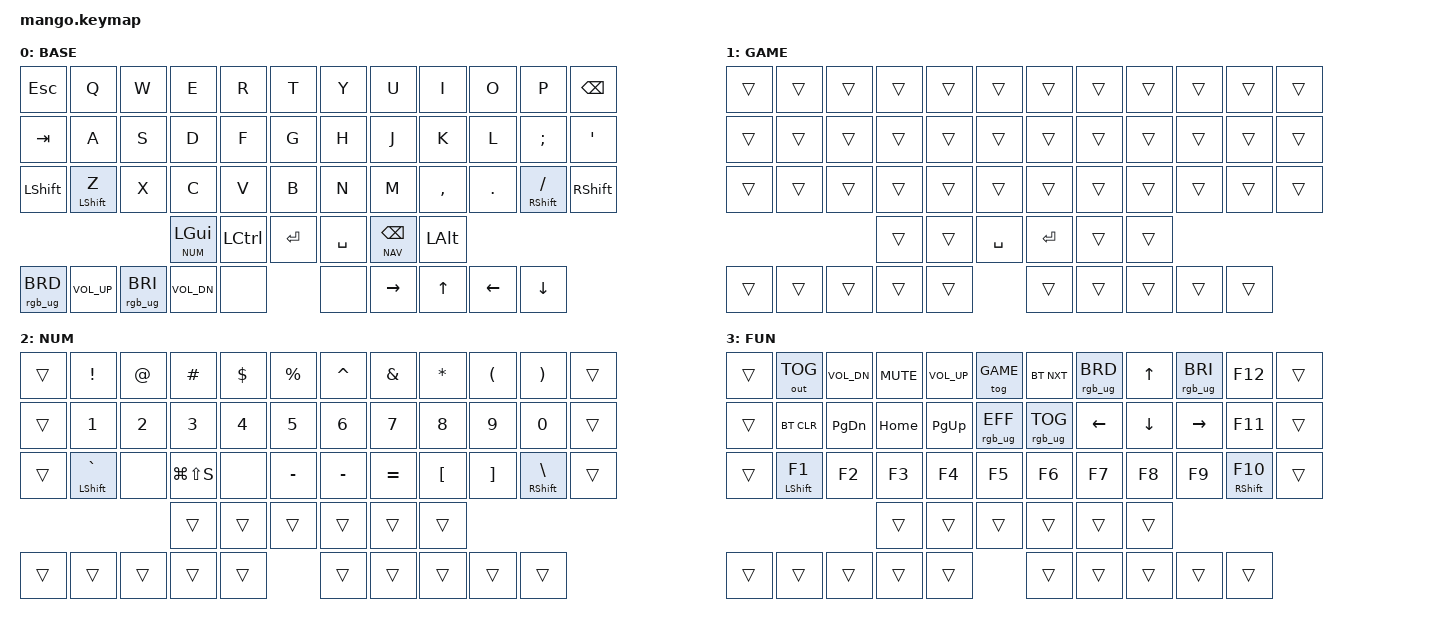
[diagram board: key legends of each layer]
#include <behaviors.dtsi>
#include <dt-bindings/zmk/keys.h>
#include <dt-bindings/zmk/bt.h>
#include <dt-bindings/zmk/outputs.h>
#include <dt-bindings/zmk/rgb.h>
#include <dt-bindings/zmk/ext_power.h>

#define BASE 0
#define GAME 1
#define NUM  2
#define NAV  3

/ {
keymap {
    compatible = "zmk,keymap";

/*                                  
*  DEFAULT               _____                                               _____
*                 .-----|  E  |-----._____                       _____.-----|  I  |-----. 
*      _____.-----|  W  |_____|  R  |  T  |                     |  Y  |  U  |_____|  O  |-----._____
*     | ESC |  Q  |-----|  D  |-----|_____|                     |_____|-----|  K  |-----|  P  | BSP |  
*     |_____|-----|  S  |_____|  F  |  G  |                     |  H  |  J  |_____|  L  |-----|_____|  
*     | TAB |  A  |-----|  C  |-----|_____|                     |_____|-----| , < |-----| ; : | ' " |  
*     |_____|-----|  X  |_____|  V  |  B  |                     |  N  |  M  |_____| . > |-----|_____|  
*     |SHIFT|  Z  |-----'   .-'---.=|_____|.-.._           _..-.|_____|=.---'-.   '-----| / ? |SHIFT|
*     !_____!-----'         | GUI | CTRL| /     /         \     \ | BSP | ALT |         '-----!_____!
*              |            '-----!_____!/ ENT /           \ SPC \!_____!-----'            |
*            SHIFT             |        '--.._/             \_..--'  |                   SHIFT                                                                                                                                       
*                             NUM                                   NAV
*                                         
*                          VUP                                              MUP
*                          __                                                __
*                       __|  |__                                          __|  |__
*                PREV  |_TGPLAY_|  NEXT                           MLEFT  |_MCLK-1_|  MRIGHT
*                         |__|                                              |__|
*                                                                             
*                        VDOWN                                             MDOWN
*/

default_layer {
    display-name = "BASE";
    bindings = <
        &kp ESC     &kp Q       &kp W       &kp E       &kp R       &kp T               &kp Y       &kp U       &kp I       &kp O       &kp P       &kp BSPC
        &kp TAB     &kp A       &kp S       &kp D       &kp F       &kp G               &kp H       &kp J       &kp K       &kp L       &kp SEMI    &kp SQT
        &kp LSHFT   &mt LSHFT Z &kp X       &kp C       &kp V       &kp B               &kp N       &kp M       &kp COMMA   &kp DOT  &mt RSHFT FSLH &kp RSHFT
                                         &lhkt NUM LGUI &kp LCTRL   &kp ENTER           &kp SPACE   &lhkt NAV BSPC &kp LALT

        &rgb_ug RGB_BRD &kp C_VOL_UP &rgb_ug RGB_BRI &kp C_VOL_DN   &none               &none       &kp RIGHT   &kp UP      &kp LEFT    &kp DOWN
    >;
};

/* 
*  GAME - this just swaps space and enter
*/

game_layer {
    display-name = "GAME";
    bindings = <
        &trans      &trans      &trans      &trans      &trans      &trans              &trans      &trans      &trans      &trans      &trans      &trans
        &trans      &trans      &trans      &trans      &trans      &trans              &trans      &trans      &trans      &trans      &trans      &trans
        &trans      &trans      &trans      &trans      &trans      &trans              &trans      &trans      &trans      &trans      &trans      &trans
                                            &trans      &trans      &kp SPACE           &kp ENTER   &trans      &trans

                    &trans      &trans      &trans      &trans      &trans              &trans      &trans      &trans      &trans      &trans
    >;
};

/*                                  
*  NUMBERS               _____                                               _____
*                 .-----|  #  |-----._____                       _____.-----|  *  |-----.
*      _____.-----|  @  |_____|  $  |  %  |                     |  ^  |  &  |_____|  (  |-----._____
*     | ESC |  !  |-----|  3  |-----|_____|                     |_____|-----|  8  |-----|  )  | BSP |  
*     |_____|-----|  2  |_____|  4  |  5  |                     |  6  |  7  |_____|  9  |-----|_____|  
*     | TAB |  1  |-----|SCRSH|-----|_____|                     |_____|-----| [ { |-----|  0  | ' " |  
*     |_____|-----|     |_____|     | - _ |                     | - _ | = + |_____| ] } |-----|_____|  
*     |SHIFT| ` ~ |-----'   .-'---.=|_____|.-.._           _..-.|_____|=.---'-.   '-----| \ | |SHIFT|
*     !_____!-----'         | GUI | CTRL| /     /         \     \ | BSP | ALT |         '-----!_____!
*              |            '-----!_____!/ ENT /           \ SPC \!_____!-----'            |
*            SHIFT             |        '--.._/             \_..--'  |                   SHIFT                                                                                                                                       
*                             NUM                                   NAV
*                                                                  
*
*                     BRIGHTNESS UP                                         MUP
*                          __                                                __
*                       __|  |__                                          __|  |__
*         PREV EFFECT  |_UDGLOW_|  NEXT EFFECT                    MLEFT  |_MCLK-2_|  MRIGHT
*                         |__|                                              |__|
*                                                                             
*                    BRIGHTNESS DOWN                                       MDOWN
*/

numbers_layer {
    display-name = "NUM";
    bindings = <
        &trans      &kp EXCL    &kp AT      &kp HASH    &kp DLLR    &kp PRCNT           &kp CARET   &kp AMPS    &kp ASTRK   &kp LPAR    &kp RPAR    &trans      
        &trans      &kp N1      &kp N2      &kp N3      &kp N4      &kp N5              &kp N6      &kp N7      &kp N8      &kp N9      &kp N0      &trans      
        &trans  &mt LSHFT GRAVE &none     &kp LG(LS(S)) &none       &kp MINUS           &kp MINUS   &kp EQUAL   &kp LBKT    &kp RBKT &mt RSHFT BSLH &trans      
                                            &trans      &trans      &trans              &trans      &trans      &trans      
                                            
                    &trans      &trans      &trans      &trans      &trans              &trans      &trans      &trans      &trans      &trans
    >;
};

/*                                  
*  NAVIGATION            _____                                               _____
*                 .-----| MUTE|-----._____                       _____.-----| UP  |-----.
*      _____.-----|VDOWN|_____| VUP | SWAP|                     |BTNXT|BRI_D|_____|BRI_U|-----._____
*     | ESC |BTTOG|-----| HOME|-----|_____|                     |_____|-----| DOWN|-----| F12 | BSP |  
*     |_____|-----|P DOW|_____| P UP|RGB_E|                     |UNGLW| LEFT|_____|RIGHT|-----|_____|  
*     | TAB |BTCLR|-----| F3  |-----|_____|                     |_____|-----| F8  |-----| F11 | ' " |  
*     |_____|-----| F2  |_____| F4  | F5  |                     | F6  | F7  |_____| F9  |-----|_____|  
*     |SHIFT| F1  |-----'   .-'---.=|_____|.-.._           _..-.|_____|=.---'-.   '-----| F10 |SHIFT|
*     !_____!-----'         | GUI | CTRL| /     /         \     \ | BSP | ALT |         '-----!_____!
*              |            '-----!_____!/ ENT /           \ SPC \!_____!-----'            |
*            SHIFT             |        '--.._/             \_..--'  |                   SHIFT                                                                                                                                       
*                             NUM                                   NAV
*                                                                  
*
*                     BRIGHTNESS UP                                       SCROLLUP
*                          __                                                __
*                       __|  |__                                          __|  |__
*         PREV EFFECT  |__RGB___|  NEXT EFFECT               SCROLLLEFT  |_MCLK-C_|  SCROLLRIGHT
*                         |__|                                              |__|
*                                                                             
*                    BRIGHTNESS DOWN                                     SCROLLDOWN
*/

navigation_layer {
    display-name = "FUN";
    bindings = <
        &trans    &out OUT_TOG &kp C_VOL_DN &kp C_MUTE  &kp C_VOL_UP &tog GAME              &bt BT_NXT      &rgb_ug RGB_BRD  &kp UP      &rgb_ug RGB_BRI  &kp F12        &trans      
        &trans    &bt BT_CLR   &kp PG_DN    &kp HOME    &kp PG_UP    &rgb_ug RGB_EFF        &rgb_ug RGB_TOG &kp LEFT         &kp DOWN    &kp RIGHT        &kp F11        &trans      
        &trans    &mt LSHFT F1 &kp F2       &kp F3      &kp F4       &kp F5                 &kp F6          &kp F7           &kp F8      &kp F9           &mt RSHFT F10  &trans      
                                            &trans      &trans       &trans                 &trans          &trans           &trans      
                                            
                    &trans     &trans       &trans      &trans       &trans                 &trans      &trans      &trans      &trans      &trans
    >;
};

};
};

/ {
combos {
    compatible = "zmk,combos";

/* 
*  COMBOS
*                                               _____________________         _____________________
*                                            __|__                   |       |                   __|__ 
*          _______________          _____   |     |                  v       v                  |     |   _____          _______________
*         |               |  .-----|  3  |-----._____                                         _____.-----|  8  |-----.  |               |
*         v       _____.-----|  2  |_____|  4  |  5  |               (       )               |  6  |  7  |_____|  9  |-----._____       v
*             __ |  0  |  1  |-----| 15  |-----|_____| --.__  +                     -  __.-- |_____|-----| 20  |-----| 10  | 11  | __
*     ESC  --|__ |_____|-----| 14  |_____| 16  | 17  | --'           [       ]           '-- | 18  | 19  |_____| 21  |-----|_____| __|--  "
*             __ | 12  | 13  |-----| 27  |-----|_____| --.__  *                     =  __.-- |_____|-----| 32  |-----| 22  | 23  | __ 
*     TAB  --|__ |_____|-----| 26  |_____| 28  | 29  | --'           {       }           '-- | 30  | 31  |_____| 33  |-----|_____| __|--  '
*                | 24  | 25  |-----'   .-'---.=|_____|.-.._                             _..-.|_____|=.---'-.   '-----| 34  | 35  | 
*                !_____!-----'         | 36  | 37  | /     /                           \     \ | 40  | 41  |         '-----!_____!
*                                      '-----!_____!/ 38  /                             \ 39  \!_____!-----'          
*                                                  '--.._/                               \_..--'  |_____|
*                                                                                                    |
*                                                                                                   DEL       
*/

// ESC
    combo_esc {
        timeout-ms = <20>;
        key-positions = <1 13>;
        bindings = <&kp ESC>;
    };

// TAB
    combo_tab {
        timeout-ms = <20>;
        key-positions = <13 25>;
        bindings = <&kp TAB>;
    };

// '
    combo_sqt {
        timeout-ms = <20>;
        key-positions = <22 34>;
        bindings = <&kp SQT>;
    };

// "
    combo_dqt {
        timeout-ms = <20>;
        key-positions = <10 22>;
        bindings = <&kp DQT>;
    };

// ()
    combo_lpar {
        timeout-ms = <20>;
        key-positions = <4 5>;
        bindings = <&kp LPAR>;
    };

    combo_rpar {
        timeout-ms = <20>;
        key-positions = <6 7>;
        bindings = <&kp RPAR>;
    };

// []
    combo_lbkt {
        timeout-ms = <20>;
        key-positions = <16 17>;
        bindings = <&kp LBKT>;
    };

    combo_rbkt {
        timeout-ms = <20>;
        key-positions = <18 19>;
        bindings = <&kp RBKT>;
    };

// {}
    combo_lbrc {
        timeout-ms = <20>;
        key-positions = <28 29>;
        bindings = <&kp LBRC>;
    };

    combo_rbrc {
        timeout-ms = <20>;
        key-positions = <30 31>;
        bindings = <&kp RBRC>;
    };

// DEL
    combo_del {
        timeout-ms = <20>;
        key-positions = <40 41>;
        bindings = <&kp DEL>;
    };

// +
    combo_plus {
        timeout-ms = <20>;
        key-positions = <5 17>;
        bindings = <&kp PLUS>;
    };

// *
    combo_astrk {
        timeout-ms = <20>;
        key-positions = <17 29>;
        bindings = <&kp ASTRK>;
    };

// -
    combo_minus {
        timeout-ms = <20>;
        key-positions = <6 18>;
        bindings = <&kp MINUS>;
    };

// =
    combo_equal {
        timeout-ms = <20>;
        key-positions = <18 30>;
        bindings = <&kp EQUAL>;
    };

};
};

/ {
macros {

// Screenshot
    SCRSHT: scrsht {
        // label = "Screenshot";
        compatible = "zmk,behavior-macro";
        #binding-cells = <0>;
        bindings
            = <&macro_press &kp LGUI>
            , <&macro_press &kp LSHFT>
            , <&macro_tap &kp S>
            , <&macro_release &kp LSHFT>
            , <&macro_release &kp LGUI>
            ;
    };
};
};

/ {
behaviors {

    lhkt: layer_hold_key_tap {
        compatible = "zmk,behavior-hold-tap";
        // label = "LAYER_HOLD_KEY_TAP";
        #binding-cells = <2>;
        tapping-term-ms = <200>;    // <---[[moderate duration]]
        quick-tap-ms = <0>;
        flavor = "hold-preferred";
        bindings = <&mo>, <&kp>;
    };
};
};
